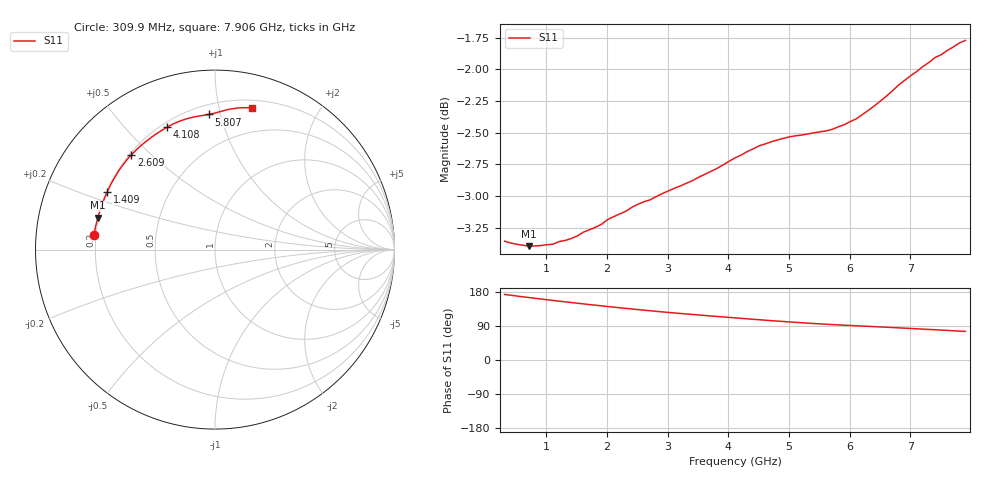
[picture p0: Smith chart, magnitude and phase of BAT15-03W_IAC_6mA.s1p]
! Infineon Technologies  Discrete & RF Semiconductors
! BAT15-03W-E6327
! IAC = 6 mA
! One-Port S-Parameters
# Hz  S  MA  R  50
!f  S11
!Hz  Mag  Ang
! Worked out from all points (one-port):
!   77 points, 309.9 MHz to 7.906 GHz, reference 50 ohm
!   lowest |S11| = -3.4 dB at 709.6 MHz (marker M1), VSWR 5.18, Z = 9.82 + j6.41 ohm
!   |S11| at or under -10 dB: nowhere
!   S11 on the Smith chart (normalised r, x): 309.9 MHz: 0.19, +0.06; 1.409 GHz: 0.20, +0.24; 2.609 GHz: 0.21, +0.43; 4.108 GHz: 0.22, +0.66; 5.807 GHz: 0.26, +0.92; 7.906 GHz: 0.27, +1.26
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3.0985e8  0.6794 173.0
5.0975e8  0.6774 168.8
7.0965e8  0.6763 164.8
1.0095e9  0.6772 159.0
1.30935e9  0.6798 153.5
1.4093e9  0.681 151.7
1.6092e9  0.685 148.1
1.70915e9  0.6865 146.2
2.009e9  0.6929 141.2
2.2089e9  0.6964 137.8
2.4088e9  0.7007 134.6
2.6087e9  0.7042 131.4
2.90855e9  0.7094 127.0
3.2084e9  0.7144 122.8
3.6082e9  0.722 117.5
4.10795e9  0.7329 111.2
4.50775e9  0.741 106.2
4.8076e9  0.745 102.7
5.10745e9  0.7478 99.4
5.4073e9  0.7498 96.3
5.8071e9  0.7538 92.7
6.007e9  0.7575 91.1
6.50675e9  0.7719 87.3
6.8066e9  0.7832 84.8
7.0065e9  0.7899 83.2
7.4063e9  0.803 79.8
7.8061e9  0.8137 76.2
7.90605e9  0.8156 75.3
